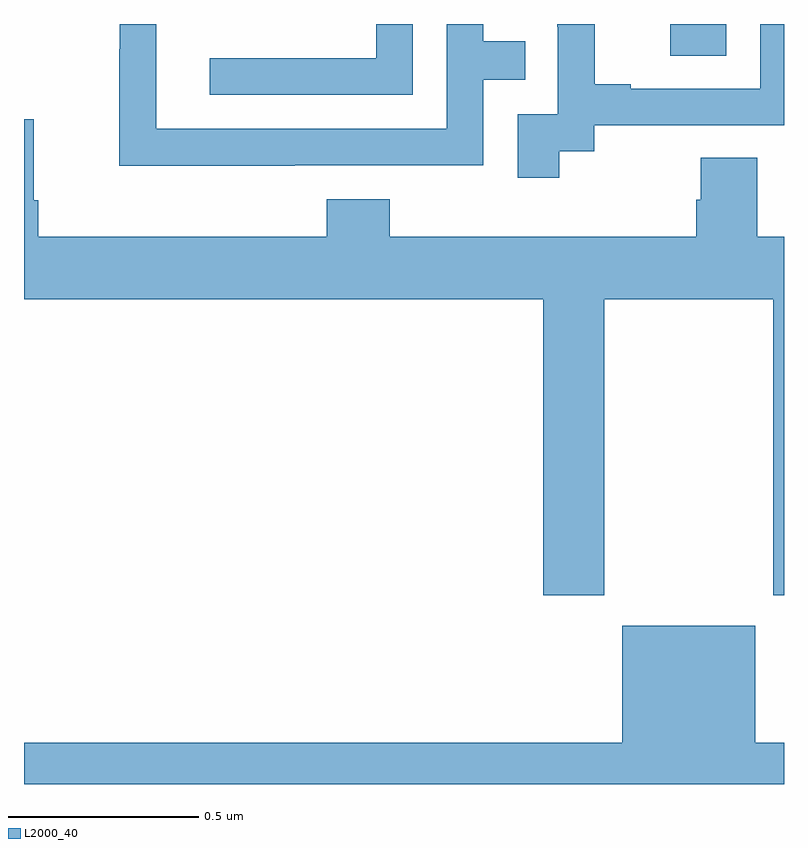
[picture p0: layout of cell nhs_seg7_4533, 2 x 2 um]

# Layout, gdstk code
import gdstk
lib = gdstk.Library(unit=1e-6, precision=1e-09)
def R(c, l, rs):  # rectangles x0, y0, x1, y1
    for r in rs: c.add(gdstk.rectangle(r[:2], r[2:], *l))
def P(c, l, *ps):  # polygons
    for p in ps: c.add(gdstk.Polygon(p, *l))
L2000_40 = (2000, 40)

nhs_seg7_4533 = lib.new_cell('nhs_seg7_4533')
R(nhs_seg7_4533, L2000_40, [(175.701,1007.916,175.848,1008)])
P(nhs_seg7_4533, L2000_40, [(175.408,1007.665),(175.5,1007.665),(175.5,1007.733),(176,1007.733),(176,1008),(175.938,1008),(175.938,1007.829),(175.597,1007.829),(175.597,1007.842),(175.502,1007.842),(175.502,1008),(175.403,1008),(175.403,1007.993),(175.404,1007.993),(175.404,1007.763),(175.299,1007.763),(175.299,1007.595),(175.408,1007.595)],
  [(174.713,1007.628),(175.209,1007.628),(175.209,1007.853),(175.319,1007.853),(175.319,1007.954),(175.209,1007.954),(175.209,1008),(175.113,1008),(175.113,1007.724),(174.348,1007.724),(174.348,1008),(174.252,1008),(174.252,1007.933),(174.25,1007.933),(174.25,1007.627),(174.713,1007.627)],
  [(175.023,1008),(174.927,1008),(174.927,1007.91),(174.489,1007.91),(174.489,1007.814),(175.023,1007.814)],
  [(175.527,1007.276),(175.972,1007.276),(175.972,1006.497),(176,1006.497),(176,1007.44),(175.929,1007.44),(175.929,1007.648),(175.781,1007.648),(175.781,1007.538),(175.769,1007.538),(175.769,1007.44),(174.962,1007.44),(174.962,1007.539),(174.797,1007.539),(174.797,1007.44),(174.038,1007.44),(174.038,1007.536),(174.025,1007.536),(174.025,1007.749),(174,1007.749),(174,1007.276),(175.367,1007.276),(175.367,1006.497),(175.527,1006.497)],
  [(176,1006.108),(175.924,1006.108),(175.924,1006.417),(175.574,1006.417),(175.574,1006.108),(174,1006.108),(174,1006),(176,1006)])

lib.write_gds('nhs_seg7_4533.gds')
